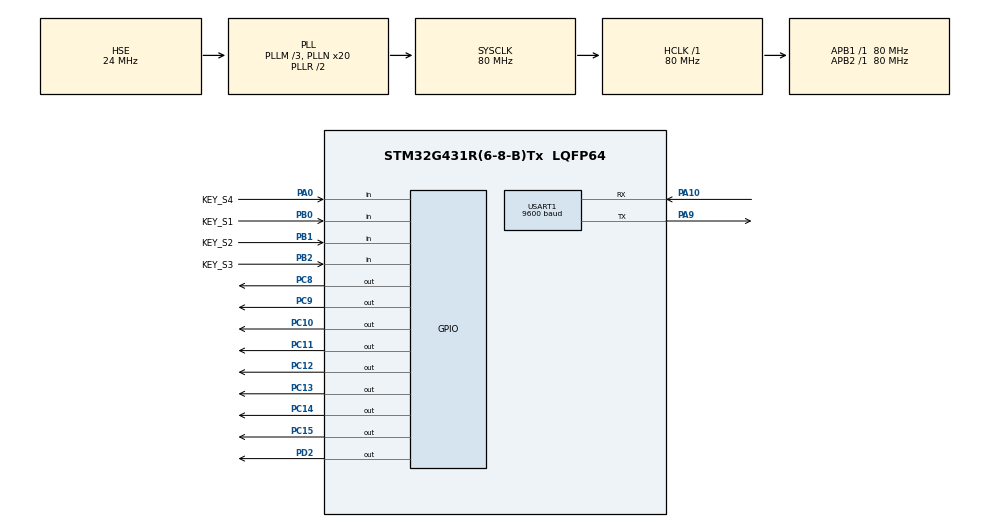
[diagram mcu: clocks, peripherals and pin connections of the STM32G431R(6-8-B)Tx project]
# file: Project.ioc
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Dma.Request0=USART1_TX
Dma.Request1=USART1_RX
Dma.USART1_RX.1.Direction=DMA_PERIPH_TO_MEMORY
Dma.USART1_RX.1.EventEnable=DISABLE
Dma.USART1_RX.1.Instance=DMA1_Channel2
Dma.USART1_RX.1.MemDataAlignment=DMA_MDATAALIGN_BYTE
Dma.USART1_RX.1.MemInc=DMA_MINC_ENABLE
Dma.USART1_RX.1.Mode=DMA_NORMAL
Dma.USART1_RX.1.PeriphDataAlignment=DMA_PDATAALIGN_BYTE
Dma.USART1_RX.1.PeriphInc=DMA_PINC_DISABLE
Dma.USART1_RX.1.Polarity=HAL_DMAMUX_REQ_GEN_RISING
Dma.USART1_RX.1.Priority=DMA_PRIORITY_LOW
Dma.USART1_RX.1.RequestNumber=1
Dma.USART1_RX.1.SignalID=NONE
Dma.USART1_RX.1.SyncEnable=DISABLE
Dma.USART1_RX.1.SyncPolarity=HAL_DMAMUX_SYNC_NO_EVENT
Dma.USART1_RX.1.SyncRequestNumber=1
Dma.USART1_RX.1.SyncSignalID=NONE
Dma.USART1_TX.0.Direction=DMA_MEMORY_TO_PERIPH
Dma.USART1_TX.0.EventEnable=DISABLE
Dma.USART1_TX.0.Instance=DMA1_Channel1
Dma.USART1_TX.0.MemDataAlignment=DMA_MDATAALIGN_BYTE
Dma.USART1_TX.0.MemInc=DMA_MINC_ENABLE
Dma.USART1_TX.0.Mode=DMA_NORMAL
Dma.USART1_TX.0.PeriphDataAlignment=DMA_PDATAALIGN_BYTE
Dma.USART1_TX.0.PeriphInc=DMA_PINC_DISABLE
Dma.USART1_TX.0.Polarity=HAL_DMAMUX_REQ_GEN_RISING
Dma.USART1_TX.0.Priority=DMA_PRIORITY_LOW
Dma.USART1_TX.0.RequestNumber=1
Dma.USART1_TX.0.SignalID=NONE
Dma.USART1_TX.0.SyncEnable=DISABLE
Dma.USART1_TX.0.SyncPolarity=HAL_DMAMUX_SYNC_NO_EVENT
Dma.USART1_TX.0.SyncRequestNumber=1
Dma.USART1_TX.0.SyncSignalID=NONE
Mcu.Family=STM32G4
Mcu.Name=STM32G431R(6-8-B)Tx
Mcu.Package=LQFP64
NVIC.DMA1_Channel1_IRQn=true\:0\:0\:false\:false\:true\:false\:true\:true
NVIC.DMA1_Channel2_IRQn=true\:0\:0\:false\:false\:true\:false\:true\:true
NVIC.PriorityGroup=NVIC_PRIORITYGROUP_4
NVIC.TIM1_TRG_COM_TIM17_IRQn=true\:1\:0\:true\:false\:true\:true\:true\:true
NVIC.USART1_IRQn=true\:0\:0\:false\:false\:true\:true\:true\:true
PA0.GPIO_Label=KEY_S4
PA0.Signal=GPIO_Input
PA10.Mode=Asynchronous
PA10.Signal=USART1_RX
PA13.Mode=Serial_Wire
PA13.Signal=SYS_JTMS-SWDIO
PA14.Mode=Serial_Wire
PA14.Signal=SYS_JTCK-SWCLK
PA9.Mode=Asynchronous
PA9.Signal=USART1_TX
PB0.GPIO_Label=KEY_S1
PB0.Signal=GPIO_Input
PB1.GPIO_Label=KEY_S2
PB1.Signal=GPIO_Input
PB2.GPIO_Label=KEY_S3
PB2.Signal=GPIO_Input
PC10.Signal=GPIO_Output
PC11.Signal=GPIO_Output
PC12.Signal=GPIO_Output
PC13.Signal=GPIO_Output
PC14-OSC32_IN.Signal=GPIO_Output
PC15-OSC32_OUT.Signal=GPIO_Output
PC8.Signal=GPIO_Output
PC9.Signal=GPIO_Output
PD2.Signal=GPIO_Output
PF0-OSC_IN.Mode=HSE-External-Oscillator
PF0-OSC_IN.Signal=RCC_OSC_IN
PF1-OSC_OUT.Mode=HSE-External-Oscillator
PF1-OSC_OUT.Signal=RCC_OSC_OUT
ProjectManager.HeapSize=0x0
ProjectManager.StackSize=0x1000
ProjectManager.TargetToolchain=MDK-ARM V5.32
RCC.ADC12Freq_Value=80000000
RCC.AHBFreq_Value=80000000
RCC.APB1Freq_Value=80000000
RCC.APB1TimFreq_Value=80000000
RCC.APB2Freq_Value=80000000
RCC.APB2TimFreq_Value=80000000
RCC.CortexFreq_Value=80000000
RCC.EXTERNAL_CLOCK_VALUE=12288000
RCC.HCLKFreq_Value=80000000
RCC.HSE_VALUE=24000000
RCC.HSI48_VALUE=48000000
RCC.HSI_VALUE=16000000
RCC.LSE_VALUE=32768
RCC.PLLM=RCC_PLLM_DIV3
RCC.PLLN=20
RCC.PLLSourceVirtual=RCC_PLLSOURCE_HSE
RCC.SYSCLKFreq_VALUE=80000000
RCC.SYSCLKSource=RCC_SYSCLKSOURCE_PLLCLK
RCC.USBFreq_Value=80000000
RCC.VCOOutputFreq_Value=160000000
TIM17.PeriodNoDither=9999
TIM17.Prescaler=79
USART1.BaudRate=9600
USART1.VirtualMode-Asynchronous=VM_ASYNC
VP_SYS_VS_DBSignals.Mode=DisableDeadBatterySignals
VP_TIM17_VS_ClockSourceINT.Mode=Enable_Timer
board=custom

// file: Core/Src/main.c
/* USER CODE BEGIN Header */
/**
  ******************************************************************************
  * @file           : main.c
  * @brief          : Main program body
  ******************************************************************************
  * @attention
  *
  * Copyright (c) 2025 STMicroelectronics.
  * All rights reserved.
  *
  * This software is licensed under terms that can be found in the LICENSE file
  * in the root directory of this software component.
  * If no LICENSE file comes with this software, it is provided AS-IS.
  *
  ******************************************************************************
  */
/* USER CODE END Header */
#include "main.h"
#include "dma.h"
#include "tim.h"
#include "usart.h"
#include "gpio.h"

/* USER CODE BEGIN Includes */
#include "lcd.h"

/* USER CODE END Includes */

/* USER CODE BEGIN PD */
#define LCD_Tail		"                    "
#define LCD_BufSize		41
#define UART_BufSize	201

/* USER CODE END PD */

/* USER CODE BEGIN PV */
char LcdBuf[LCD_BufSize];
char TxMsg[UART_BufSize];
char RxMsg[UART_BufSize];

/* USER CODE END PV */

void SystemClock_Config(void);
/* USER CODE BEGIN PFP */
void Key_Process(uint8_t keyNum);

/* USER CODE END PFP */

/* USER CODE BEGIN 0 */
void HAL_UARTEx_RxEventCallback(UART_HandleTypeDef *huart, uint16_t Size)
{
	// 以下为串口接收数据处理部分，样例为返回接收长度和内容
	sprintf(TxMsg, "RxLen = %d, RxMsg: %s", Size, RxMsg);
	HAL_UART_Transmit_DMA(&huart1, (uint8_t *)TxMsg, strlen(TxMsg));

	// 以下为串口接收再次使能部分，切勿修改
	memset(RxMsg, 0, UART_BufSize);
	HAL_UARTEx_ReceiveToIdle_DMA(&huart1, (uint8_t *)RxMsg, UART_BufSize);
}

void HAL_TIM_PeriodElapsedCallback(TIM_HandleTypeDef *htim)
{
	if (htim == &htim17)
	{
		Key_Process(Key_Read());
	}
}

/* USER CODE END 0 */

int main(void)
{

  /* MCU Configuration--------------------------------------------------------*/

  /* Reset of all peripherals, Initializes the Flash interface and the Systick. */
  HAL_Init();

  /* Configure the system clock */
  SystemClock_Config();

  /* Initialize all configured peripherals */
  MX_GPIO_Init();
  MX_DMA_Init();
  MX_USART1_UART_Init();
  MX_TIM17_Init();
  /* USER CODE BEGIN 2 */
  LED_WR(0x00);
  LCD_Init();
  LCD_Clear(Black);
  LCD_SetBackColor(Black);
  LCD_SetTextColor(White);

  // 屏幕显示时，应在字符串末尾补空格以覆盖历史字符
  // 当 LCD_BufSize == 41 时，末尾固定的 20 个空格是充分且安全的
  sprintf(LcdBuf, "**********%s", LCD_Tail);
  LCD_DisplayStringLine(Line0, (uint8_t *)LcdBuf);
  HAL_Delay(1000);
  sprintf(LcdBuf, "#####%s", LCD_Tail);
  LCD_DisplayStringLine(Line0, (uint8_t *)LcdBuf);

  // 在简化版串口驱动下，禁止连续发送
  sprintf(TxMsg, "G431RBT6 UART1 Connected.\r\n");
  HAL_UART_Transmit_DMA(&huart1, (uint8_t *)TxMsg, strlen(TxMsg));
//  sprintf(TxMsg, "Continuous sending test.\r\n");
//  HAL_UART_Transmit_DMA(&huart1, (uint8_t *)TxMsg, strlen(TxMsg));

  // 使能串口接收
  HAL_UARTEx_ReceiveToIdle_DMA(&huart1, (uint8_t *)RxMsg, UART_BufSize);

  HAL_TIM_Base_Start_IT(&htim17);

  /* USER CODE END 2 */

  /* Infinite loop */
  while (1)
  {

  }
}

void SystemClock_Config(void)
{
  RCC_OscInitTypeDef RCC_OscInitStruct = {0};
  RCC_ClkInitTypeDef RCC_ClkInitStruct = {0};

  /** Configure the main internal regulator output voltage
  */
  HAL_PWREx_ControlVoltageScaling(PWR_REGULATOR_VOLTAGE_SCALE1);

  /** Initializes the RCC Oscillators according to the specified parameters
  * in the RCC_OscInitTypeDef structure.
  */
  RCC_OscInitStruct.OscillatorType = RCC_OSCILLATORTYPE_HSE;
  RCC_OscInitStruct.HSEState = RCC_HSE_ON;
  RCC_OscInitStruct.PLL.PLLState = RCC_PLL_ON;
  RCC_OscInitStruct.PLL.PLLSource = RCC_PLLSOURCE_HSE;
  RCC_OscInitStruct.PLL.PLLM = RCC_PLLM_DIV3;
  RCC_OscInitStruct.PLL.PLLN = 20;
  RCC_OscInitStruct.PLL.PLLP = RCC_PLLP_DIV2;
  RCC_OscInitStruct.PLL.PLLQ = RCC_PLLQ_DIV2;
  RCC_OscInitStruct.PLL.PLLR = RCC_PLLR_DIV2;
  if (HAL_RCC_OscConfig(&RCC_OscInitStruct) != HAL_OK)
  {
    Error_Handler();
  }

  /** Initializes the CPU, AHB and APB buses clocks
  */
  RCC_ClkInitStruct.ClockType = RCC_CLOCKTYPE_HCLK|RCC_CLOCKTYPE_SYSCLK
                              |RCC_CLOCKTYPE_PCLK1|RCC_CLOCKTYPE_PCLK2;
  RCC_ClkInitStruct.SYSCLKSource = RCC_SYSCLKSOURCE_PLLCLK;
  RCC_ClkInitStruct.AHBCLKDivider = RCC_SYSCLK_DIV1;
  RCC_ClkInitStruct.APB1CLKDivider = RCC_HCLK_DIV1;
  RCC_ClkInitStruct.APB2CLKDivider = RCC_HCLK_DIV1;

  if (HAL_RCC_ClockConfig(&RCC_ClkInitStruct, FLASH_LATENCY_2) != HAL_OK)
  {
    Error_Handler();
  }
}

/* USER CODE BEGIN 4 */
void Key_Process(uint8_t keyNum)
{
	if (keyNum == 0x00) return;
	sprintf(TxMsg, "key = 0x%02x\r\n", keyNum);
	HAL_UART_Transmit_DMA(&huart1, (uint8_t *)TxMsg, strlen(TxMsg));
}

/* USER CODE END 4 */

void Error_Handler(void)
{
  __disable_irq();
  while (1)
  {
  }
}
